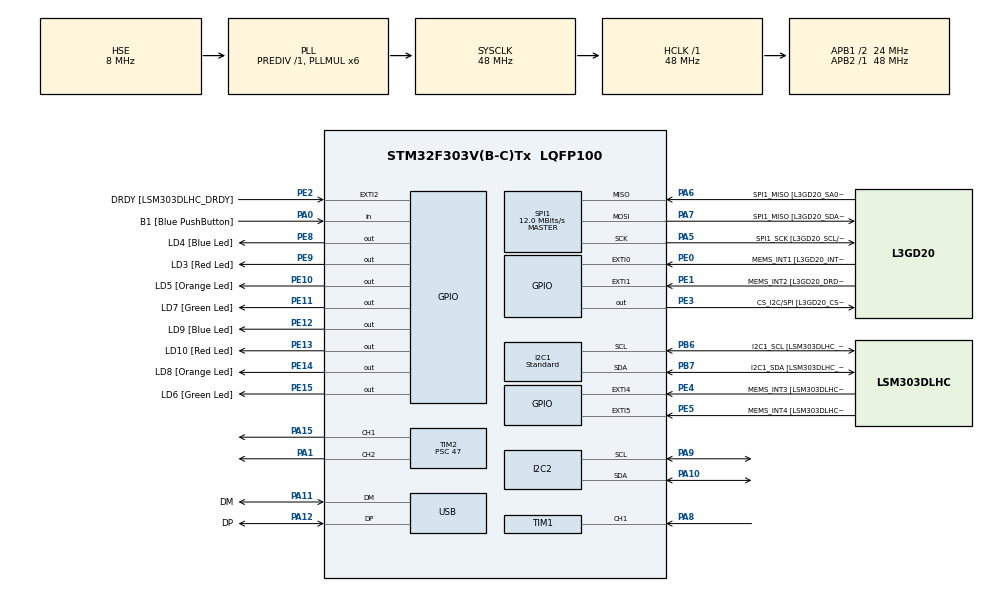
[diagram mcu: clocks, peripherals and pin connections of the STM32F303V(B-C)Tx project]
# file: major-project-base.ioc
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I2C1.Analog_Filter=I2C_ANALOGFILTER_ENABLE
I2C1.I2C_Speed_Mode=I2C_Standard
I2C1.Timing=0x2000090E
Mcu.Family=STM32F3
Mcu.Name=STM32F303V(B-C)Tx
Mcu.Package=LQFP100
NVIC.PriorityGroup=NVIC_PRIORITYGROUP_0
NVIC.TIM1_CC_IRQn=true\:0\:0\:false\:false\:true\:true\:true\:true
NVIC.TIM2_IRQn=true\:0\:0\:false\:false\:true\:true\:true\:true
PA0.GPIO_Label=B1 [Blue PushButton]
PA0.Signal=GPIO_Input
PA1.Signal=S_TIM2_CH2
PA10.GPIO_Pu=GPIO_PULLUP
PA10.Mode=I2C
PA10.Signal=I2C2_SDA
PA11.GPIO_Label=DM
PA11.Mode=Device
PA11.Signal=USB_DM
PA12.GPIO_Label=DP
PA12.Mode=Device
PA12.Signal=USB_DP
PA13.GPIO_Label=SWDIO
PA13.Mode=Serial_Wire
PA13.Signal=SYS_JTMS-SWDIO
PA14.GPIO_Label=SWCLK
PA14.Mode=Serial_Wire
PA14.Signal=SYS_JTCK-SWCLK
PA15.Signal=S_TIM2_CH1_ETR
PA5.GPIO_Label=SPI1_SCK [L3GD20_SCL/SPC]
PA5.Mode=Full_Duplex_Master
PA5.Signal=SPI1_SCK
PA6.GPIO_Label=SPI1_MISO [L3GD20_SA0/SDO]
PA6.Mode=Full_Duplex_Master
PA6.Signal=SPI1_MISO
PA7.GPIO_Label=SPI1_MISO [L3GD20_SDA/SDI/SDO]
PA7.Mode=Full_Duplex_Master
PA7.Signal=SPI1_MOSI
PA8.Signal=S_TIM1_CH1
PA9.GPIO_Pu=GPIO_PULLUP
PA9.Mode=I2C
PA9.Signal=I2C2_SCL
PB3.GPIO_Label=SWO
PB3.Signal=SYS_JTDO-TRACESWO
PB6.GPIO_FM6=SYSCFG_CFGR1_I2C_PB6_FMP
PB6.GPIO_Label=I2C1_SCL [LSM303DLHC_SCL]
PB6.GPIO_Mode=GPIO_MODE_AF_OD
PB6.GPIO_Pu=GPIO_PULLUP
PB6.GPIO_Speed=GPIO_SPEED_FREQ_HIGH
PB6.Mode=I2C
PB6.Signal=I2C1_SCL
PB7.GPIO_FM7=SYSCFG_CFGR1_I2C_PB7_FMP
PB7.GPIO_Label=I2C1_SDA [LSM303DLHC_SDA]
PB7.GPIO_Pu=GPIO_PULLUP
PB7.Mode=I2C
PB7.Signal=I2C1_SDA
PC14-OSC32_IN.GPIO_Label=OSC32_IN
PC14-OSC32_IN.Signal=RCC_OSC32_IN
PC15-OSC32_OUT.GPIO_Label=OSC32_OUT
PC15-OSC32_OUT.Signal=RCC_OSC32_OUT
PE0.GPIO_Label=MEMS_INT1 [L3GD20_INT1]
PE0.GPIO_ModeDefaultEXTI=GPIO_MODE_EVT_RISING
PE0.Signal=GPXTI0
PE1.GPIO_Label=MEMS_INT2 [L3GD20_DRDY/INT2]
PE1.GPIO_ModeDefaultEXTI=GPIO_MODE_EVT_RISING
PE1.Signal=GPXTI1
PE10.GPIO_Label=LD5 [Orange Led]
PE10.Signal=GPIO_Output
PE11.GPIO_Label=LD7 [Green Led]
PE11.Signal=GPIO_Output
PE12.GPIO_Label=LD9 [Blue Led]
PE12.Signal=GPIO_Output
PE13.GPIO_Label=LD10 [Red Led]
PE13.Signal=GPIO_Output
PE14.GPIO_Label=LD8 [Orange Led]
PE14.Signal=GPIO_Output
PE15.GPIO_Label=LD6 [Green Led]
PE15.Signal=GPIO_Output
PE2.GPIO_Label=DRDY [LSM303DLHC_DRDY]
PE2.GPIO_ModeDefaultEXTI=GPIO_MODE_EVT_RISING
PE2.Signal=GPXTI2
PE3.GPIO_Label=CS_I2C/SPI [L3GD20_CS_I2C/SPI]
PE3.Signal=GPIO_Output
PE4.GPIO_Label=MEMS_INT3 [LSM303DLHC_INT1]
PE4.GPIO_ModeDefaultEXTI=GPIO_MODE_EVT_RISING
PE4.Signal=GPXTI4
PE5.GPIO_Label=MEMS_INT4 [LSM303DLHC_INT2]
PE5.GPIO_ModeDefaultEXTI=GPIO_MODE_EVT_RISING
PE5.Signal=GPXTI5
PE8.GPIO_Label=LD4 [Blue Led]
PE8.Signal=GPIO_Output
PE9.GPIO_Label=LD3 [Red Led]
PE9.Signal=GPIO_Output
PF0-OSC_IN.GPIO_Label=OSC_IN
PF0-OSC_IN.Mode=HSE-External-Clock-Source
PF0-OSC_IN.Signal=RCC_OSC_IN
PF1-OSC_OUT.GPIO_Label=OSC_OUT
PF1-OSC_OUT.Signal=RCC_OSC_OUT
ProjectManager.HeapSize=0x200
ProjectManager.StackSize=0x400
ProjectManager.TargetToolchain=STM32CubeIDE
RCC.AHBFreq_Value=48000000
RCC.APB1CLKDivider=RCC_HCLK_DIV2
RCC.APB1Freq_Value=24000000
RCC.APB1TimFreq_Value=48000000
RCC.APB2Freq_Value=48000000
RCC.APB2TimFreq_Value=48000000
RCC.CortexFreq_Value=48000000
RCC.HCLKFreq_Value=48000000
RCC.HSE_VALUE=8000000
RCC.HSI_VALUE=8000000
RCC.LSE_VALUE=32768
RCC.PLLMUL=RCC_PLL_MUL6
RCC.SYSCLKFreq_VALUE=48000000
RCC.SYSCLKSourceVirtual=RCC_SYSCLKSOURCE_PLLCLK
RCC.USBFreq_Value=48000000
SH.S_TIM1_CH1.0=TIM1_CH1,Input_Capture1_from_TI1
SH.S_TIM2_CH1_ETR.0=TIM2_CH1,PWM Generation1 CH1
SH.S_TIM2_CH2.0=TIM2_CH2,PWM Generation2 CH2
SPI1.BaudRatePrescaler=SPI_BAUDRATEPRESCALER_4
SPI1.BaudRatePrescaler-Full_Duplex_Master=SPI_BAUDRATEPRESCALER_2
SPI1.CalculateBaudRate=12.0 MBits/s
SPI1.CalculateBaudRate-Full_Duplex_Master=24.0 MBits/s
SPI1.Direction=SPI_DIRECTION_2LINES
SPI1.Mode=SPI_MODE_MASTER
SPI1.Mode-Full_Duplex_Master=SPI_MODE_MASTER
SPI1.VirtualType=VM_MASTER
TIM1.Channel-Input_Capture1_from_TI1=TIM_CHANNEL_1
TIM1.ICPolarity_CH1=TIM_INPUTCHANNELPOLARITY_BOTHEDGE
TIM1.Prescaler=47
TIM2.AutoReloadPreload=TIM_AUTORELOAD_PRELOAD_ENABLE
TIM2.Channel-PWM\ Generation1\ CH1=TIM_CHANNEL_1
TIM2.Channel-PWM\ Generation2\ CH2=TIM_CHANNEL_2
TIM2.Period=20000
TIM2.Prescaler=47
TIM2.Pulse-PWM\ Generation1\ CH1=2000
TIM2.Pulse-PWM\ Generation2\ CH2=2000
VP_TIM1_VS_ClockSourceINT.Mode=Internal
board=STM32F3DISCOVERY

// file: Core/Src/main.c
/* USER CODE BEGIN Header */
/**
 ******************************************************************************
 * @file           : main.c
 * @brief          : Main program body
 ******************************************************************************
 * @attention
 *
 * Copyright (c) 2023 STMicroelectronics.
 * All rights reserved.
 *
 * This software is licensed under terms that can be found in the LICENSE file
 * in the root directory of this software component.
 * If no LICENSE file comes with this software, it is provided AS-IS.
 *
 ******************************************************************************
 */
/* USER CODE END Header */
#include "main.h"

/* USER CODE BEGIN Includes */
#include "lsm303dlhc_module.h"
#include "ptu_definitions.h"
#include "ptu_i2c.h"
#include "serial.h"

#include "math.h"

#include "timer.h"
#include "lsm6dsl_module.h"

/* USER CODE END Includes */

I2C_HandleTypeDef hi2c1;
I2C_HandleTypeDef hi2c2;

SPI_HandleTypeDef hspi1;

TIM_HandleTypeDef htim1;
TIM_HandleTypeDef htim2;

PCD_HandleTypeDef hpcd_USB_FS;

void SystemClock_Config(void);
static void MX_GPIO_Init(void);
static void MX_I2C1_Init(void);
static void MX_SPI1_Init(void);
static void MX_USB_PCD_Init(void);
static void MX_TIM2_Init(void);
static void MX_TIM1_Init(void);
static void MX_I2C2_Init(void);

/* USER CODE BEGIN 0 */

// enable the clocks for desired peripherals (GPIOA, C and E)
void enable_clocks() {
	RCC->AHBENR |= RCC_AHBENR_GPIOAEN | RCC_AHBENR_GPIOCEN | RCC_AHBENR_GPIOEEN;
}

// initialise the discovery board I/O (just outputs: inputs are selected by default)
void initialise_board() {
	// get a pointer to the second half word of the MODER register (for outputs pe8-15)
	uint16_t *led_output_registers = ((uint16_t *)&(GPIOE->MODER)) + 1;
	*led_output_registers = 0x5555;
}

typedef union {
	uint8_t all_leds;
	struct {
		uint8_t led_pair_1 : 2;
		uint8_t led_pair_2 : 2;
		uint8_t led_set_of_4 : 4;
	} led_groups;
} LedRegister;

uint16_t last_capture = 0;
uint16_t diff = 0;

uint16_t rise_time = 0;
uint16_t last_period = 0;

float x = 0;

void HAL_TIM_IC_CaptureCallback(TIM_HandleTypeDef *htim)
{
	uint8_t buffer[32];
	if (htim->Instance == TIM1 && htim->Channel == HAL_TIM_ACTIVE_CHANNEL_1)
	{
		uint16_t IC_Val1 = HAL_TIM_ReadCapturedValue(htim, TIM_CHANNEL_1); // read the first value

		if (HAL_GPIO_ReadPin(GPIOA, GPIO_PIN_8) == 1)
			rise_time = IC_Val1;
		else
			last_period = IC_Val1 - rise_time;

		diff = IC_Val1 - last_capture;
		last_capture = IC_Val1;
	}
}
volatile uint8_t string_to_send[500] = "This is a string !\r\n";
volatile uint8_t test_string[64] = "h!\r\n";

//static volatile float dx = 0;
//volatile float dt = 0.01;
//static volatile float ds;
//volatile uint16_t dv;

/* USER CODE END 0 */

int main(void)
{
  /* USER CODE BEGIN 1 */

	enable_clocks();
	initialise_board();

	LedRegister *led_register = ((uint8_t*)&(GPIOE->ODR)) + 1;

	SerialInitialise(BAUD_115200, &USART1_PORT, 0x00);

	HAL_StatusTypeDef return_value = 0x00;

	volatile uint16_t vertical_PWM = 1000;
	volatile uint16_t horizontal_PWM = 1000;

  /* USER CODE END 1 */

  /* MCU Configuration--------------------------------------------------------*/

  /* Reset of all peripherals, Initializes the Flash interface and the Systick. */
  HAL_Init();

  /* Configure the system clock */
  SystemClock_Config();

  /* Initialize all configured peripherals */
  MX_GPIO_Init();
  MX_I2C1_Init();
  MX_SPI1_Init();
  MX_USB_PCD_Init();
  MX_TIM2_Init();
  MX_TIM1_Init();
  MX_I2C2_Init();
  /* USER CODE BEGIN 2 */

	HAL_TIM_PWM_Start(&htim2, TIM_CHANNEL_1); // PAN
	HAL_TIM_PWM_Start(&htim2, TIM_CHANNEL_2); // TILT

	HAL_TIM_IC_Start_IT(&htim1, TIM_CHANNEL_1); // LIDAR

	// TIM 2 is setup with a prescaler that makes 1 count = 1 microsecond
	// Even with HAL, you can still set the values yourself
	TIM2->ARR = 20000; // 20000 = 20ms, which is the desired clock period for servos
	TIM2->CR1 |= TIM_CR1_ARPE; // this makes the timing not change until the next pulse is finished

	// note: for PWM if you continually change the clock period
	// you can get unexpected results. To remove this, set ARPE so that the
	// ARR settings are not activated until the next cycle.

	// Tell the NVIC module that timer2 interrupts should be handled
	// NVIC_EnableIRQ(TIM2_IRQn);

	// literallty set the PTU registers using I2C
	// Stews code to initalise HAL_TYPE_STRUCT used for I2C communications
	// he is exrecting a certain stream of infromation and sets it up like so
	initialise_ptu_i2c(&hi2c2);

	lsm303dlhc_initialise(&hi2c1);

  /* USER CODE END 2 */

  /* Infinite loop */
  /* USER CODE BEGIN WHILE */

	// reset lidar board
	uint8_t reset_value = 0x00;
	return_value = HAL_I2C_Mem_Write(&hi2c2, LIDAR_WR, 0x00, 1, &reset_value, 1, 10);

	uint8_t PWM_direction_clockwise = 1;

	// delay for initialisation of the lidar
	HAL_Delay(100);

	uint16_t time = 100; // 4 seconds = 4000ms // 10ms = 10
	//Idea get a interrupt every 10ms
	up_count_TIM3(time, PTU_callback_function);

	float x_acc = 0.0;
	float y_acc = 0.0;
	float z_acc = 0.0;
	float x_v = 0.0;
	float y_v = 0.0;
	float z_v = 0.0;
	float x_angle = 0.0;
	float y_angle = 0.0;
	float z_angle = 0.0;
	float p_rps = 0.0;
	float q_rps = 0.0;
	float r_rps = 0.0;
	float global_roll = 0.0;
	float global_pitch = 0.0;
	float global_yaw = 0.0;
	while (1)
	{
		if (PWM_direction_clockwise == 1) {
			vertical_PWM += 3;
			horizontal_PWM += 3;
		}
		else {
			vertical_PWM -= 3;
			horizontal_PWM -= 3;
		}

		if (vertical_PWM > 1900) {
			vertical_PWM = 1900;
			PWM_direction_clockwise = 0;
		}
		if (vertical_PWM < 1200) {
			vertical_PWM = 1200;
			PWM_direction_clockwise = 1;
		}

		TIM2->CCR1 = vertical_PWM;
		TIM2->CCR2 = horizontal_PWM;

		uint8_t xMSB = 0x00;
		HAL_I2C_Mem_Read(&hi2c2,gyro_rd, 0x29, 1, &xMSB, 1, 10);
		uint8_t xLSB = 0x00;
		HAL_I2C_Mem_Read(&hi2c2,gyro_rd, 0x28, 1, &xLSB, 1, 10);
		int16_t yaw_rate = ((xMSB << 8) | xLSB);

		uint8_t yMSB = 0x00;
		HAL_I2C_Mem_Read(&hi2c2,gyro_rd, 0x2B, 1, &yMSB, 1, 10);
		uint8_t yLSB = 0x00;
		HAL_I2C_Mem_Read(&hi2c2,gyro_rd, 0x2A, 1, &yLSB, 1, 10);
		int16_t pitch_rate = ((yMSB << 8) | yLSB);

		uint8_t zMSB = 0x00;
		HAL_I2C_Mem_Read(&hi2c2,gyro_rd, 0x2D, 1, &zMSB, 1, 10);
		uint8_t zLSB = 0x00;
		HAL_I2C_Mem_Read(&hi2c2,gyro_rd, 0x2C, 1, &zLSB, 1, 10);
		int16_t roll_rate = ((zMSB << 8) | zLSB);

		if (pitch_rate < 0)
			led_register->led_groups.led_pair_1 = 0b01;
		else
			led_register->led_groups.led_pair_1 = 0b10;

		if (yaw_rate < 0)
			led_register->led_groups.led_pair_2 = 1;
		else
			led_register->led_groups.led_pair_2 = 2;

		uint8_t lidar_value = 0x03;
		return_value = HAL_I2C_Mem_Write(&hi2c2, LIDAR_WR, 0x00, 1, &lidar_value, 1, 100);

		lidar_value = 0xff;

		uint8_t lidar_MSBa = 0x00;
		uint8_t lidar_LSBa = 0x00;

		volatile uint16_t lidar_distance = 0xff;

		uint16_t timeout;
// some WERID ERROS happen here
		while ((lidar_value & 0x01) != 0x00) {
			return_value = HAL_I2C_Mem_Read(&hi2c2, LIDAR_RD, 0x01, 1, &lidar_value, 1, 100);

			return_value = HAL_I2C_Mem_Read(&hi2c2, LIDAR_RD, 0x0f, 1, &lidar_MSBa, 1, 100);
			return_value = HAL_I2C_Mem_Read(&hi2c2, LIDAR_RD, 0x10, 1, &lidar_LSBa, 1, 100);

			lidar_distance = ((lidar_MSBa << 8) | lidar_LSBa);
			timeout += 1;
			if (timeout > 0xff)
				break;
		}

		uint8_t lidar_ranges = lidar_distance / (100/4); // 100cm broken into 4 groups
		if (lidar_ranges > 3)
			lidar_ranges = 3;

		uint8_t led_values = pow(2, lidar_ranges);

		led_register->led_groups.led_set_of_4 = led_values;

		volatile int read_values_now = 0;

		if (last_period > 4000)
			last_period = 5000;
		if (lidar_distance > 4000)
			lidar_distance = 5500;
		// Read the magnetometer

		uint8_t mag_setting = 0b11111100;
		return_value = HAL_I2C_Mem_Write(&hi2c2, magnet_wr, 0x02, 1, &mag_setting, 1, 10);

		uint8_t mag_data_buf[6];
		return_value = HAL_I2C_Mem_Read(&hi2c2, magnet_rd, 0x03, 1, mag_data_buf, 6, 10);
		int16_t x_mag = ((mag_data_buf[0] << 8) | mag_data_buf[1]);
		int16_t z_mag = ((mag_data_buf[2] << 8) | mag_data_buf[3]);
		int16_t y_mag = ((mag_data_buf[4] << 8) | mag_data_buf[5]);
		//return_value = HAL_I2C_Mem_Read(&hi2c1, magnet_rd, 0x03, 1, &mag_data_buf[0], 1, 10);
		//return_value = HAL_I2C_Mem_Read(&hi2c1, magnet_rd, 0x04, 1, &mag_data_buf[1], 1, 10);
		//return_value = HAL_I2C_Mem_Read(&hi2c1, magnet_rd, 0x05, 1, &mag_data_buf[2], 1, 10);
		//return_value = HAL_I2C_Mem_Read(&hi2c1, magnet_rd, 0x06, 1, &mag_data_buf[3], 1, 10);
		// = HAL_I2C_Mem_Read(&hi2c1, magnet_rd, 0x07, 1, &mag_data_buf[4], 1, 10);

		// I'm so confused it seems stw things roll is z yaw is x pitch is y??

		// Read acceleration values from ADXL345 registers
		uint8_t buffer[6];
		HAL_I2C_Mem_Read(&hi2c2, accel_rd, 0x32, 1, buffer, 6, 10);
		int16_t x_acceleration = ((buffer[1] << 8) | buffer[0]);
		int16_t y_acceleration = ((buffer[3] << 8) | buffer[2]);
		int16_t z_acceleration = ((buffer[5] << 8) | buffer[4]);

		// I think these calcs are wrong but wait and see
		int32_t x_input = y_acceleration*y_acceleration + z_acceleration*z_acceleration;
		int32_t y_input = x_acceleration*x_acceleration + z_acceleration*z_acceleration;
		int32_t z_input = x_acceleration*x_acceleration + y_acceleration*y_acceleration;
		float ax_roll = (180/3.14)*atan(y_acceleration/sqrt(y_input));
		float ax_pitch = (180/3.14)*atan(x_acceleration/sqrt(x_input));
		float ax_yaw = (180/3.14)*atan(z_acceleration/sqrt(z_input));
		float fYg = (roll_rate+86)*0.00875;

		//float ay_roll = atan(y/sqrt(y_input));
		//x = 0.95*(x + (roll_rate-57)*4/1000) + 0.05*ax_pitch;
		//dv = roll_rate;
		//sprintf(string_to_send, "%hu,%hu,%hd,%hd,%hd,%hd,%hd,%hd,%lf,%lf,%hd,%hd,%hd\r\n", last_period, lidar_distance*10, roll_rate, pitch_rate, yaw_rate, x_acceleration, y_acceleration, z_acceleration, x, ax_pitch, x_mag, z_mag, y_mag);
		//sprintf(string_to_send, "%lf,%lf,%lf,%hd,%hd,%hd\r\n", x_acceleration*0.0039, y_acceleration*0.0039, z_acceleration*0.0039, x_mag, z_mag, y_mag);

		// When gyro facing up
		// Notes on roll pitch and yaw
		// pitch appears to be along the y axis
		// roll_rate is from the z axis
		// yaw_rate is along the x axis

		//float fXg = (roll_rate+86)*0.00875;
		// Do some math to get distance

		float ALPHA = 0.1;
		//float xg;
		//float dpsx = fXg * ALPHA + (xg * (1.0-ALPHA));
		//xg = dpsx;
		//angleX = 0.95*(angleX + dpsx*0.1) + 0.05*ax_roll;

		// impliment a low pass filter on naked results
		//float roll;
		//roll = (roll_rate+86)*ALPHA + roll*(1-ALPHA);

		//sprintf(string_to_send, "%lf,%hd,%lf,%hd,%lf,%lf,%lf\r\n", dpsx, roll_rate, roll, yaw_rate,x_acceleration*0.0039,ax_yaw,angleX);
		// setup_transmission(string_to_send, &USART1_PORT);
		//SerialOutputString(string_to_send, &USART1_PORT);
		//usart1_tx_transmission(string_to_send);
		// usart1_tx_push(string_to_send);

		// Okay lets understand each value being presented and use today as the time to figure them out
		/*
		 * 1. find the offset of acceleration to stablise it
		 * 2. see if can combine acceleration and velocity together to get some values for x y and z
		 * 3.
		 *  */
		// filter out information using low pass filter
		x_acc = ((float)x_acceleration) * 0.00390625 + (1.0-ALPHA)*x_acc;
		y_acc = ((float)y_acceleration) * 0.00390625 + (1.0-ALPHA)*y_acc;
		z_acc = ((float)z_acceleration) * 0.00390625 + (1.0-ALPHA)*z_acc;
		float a_roll = (180/3.14)*atan(y_acc/sqrt(x_acc*x_acc+z_acc*z_acc));
		float a_pitch = (180/3.14)*atan(x_acc/sqrt(y_acc*y_acc+z_acc*z_acc));
		float a_yaw = (180/3.14)*atan(z_acc/sqrt(y_acc*y_acc+x_acc*x_acc));
		//sprintf(string_to_send, "%lf,%lf,%lf,%lf,%lf,%lf\r\n", x_acc, y_acc, z_acc, a_roll, a_pitch, a_yaw);
		//sprintf(string_to_send, "%hd,%hd,%hd\r\n", x_acceleration, y_acceleration, z_acceleration);
		// DO cals on all gryo parts..

		x_v = ((pitch_rate-74)*0.00875* ALPHA + x_v * (1.0-ALPHA));
		y_v = (yaw_rate+86)*0.00875* ALPHA + y_v * (1.0-ALPHA);
		z_v = (roll_rate-100)*0.00875* ALPHA + z_v * (1.0-ALPHA);
		//sprintf(string_to_send, "%hd,%hd,%hd,%lf,%lf,%lf\r\n", roll_rate, pitch_rate, yaw_rate, x_v, y_v, z_v);

		// Now do math to combines readings
		x_angle = 0.95*(x_angle + x_v*0.09) + 0.05*a_roll;
		y_angle = 0.95*(y_angle + y_v*0.09) + 0.05*a_pitch;
		z_angle = 0.95*(z_angle + z_v*0.09) + 0.05*a_yaw;
		float angle = (y_angle + x_angle);
		float y = y_angle - x_angle;
		//sprintf(string_to_send, "%lf,%lf,%lf,%lf,%lf,%lf\r\n", x_v, y_v, z_v, x_angle, y_angle, z_angle);
		//sprintf(string_to_send, "%lf,%lf,%lf\r\n", x_angle, y_angle, z_angle);
		//sprintf(string_to_send, "%lf,%lf\r\n",angle*100, y*100);

		// Investigating magnetic rates
		float mag_angle = atan(y_mag/x_mag);

		//sprintf(string_to_send,"%hd,%hd,%hd,%\r\n",x_mag, z_mag, y_mag);

		// Global roll pitch can't get yaw
		p_rps = ((pitch_rate-74)*0.00875*ALPHA)*(3.14/180) + p_rps * (1.0-ALPHA);
		q_rps = ((yaw_rate+86)*0.00875*ALPHA)*(3.14/180) + q_rps * (1.0-ALPHA);
		r_rps = ((roll_rate-100)*0.00875*ALPHA)*(3.14/180) + r_rps * (1.0-ALPHA);

		// trial of global pitch, roll using accelerometer
		float global_acc_roll = atanf(y_acc/z_acc);
		float global_acc_pitch = atanf(x_acc/9.81);

		float phi_dot = p_rps + tanf(global_acc_pitch)*(sinf(global_acc_roll)*q_rps + cosf(global_acc_roll)*r_rps);
		float theta_dot = cosf(global_acc_roll)*q_rps - sinf(global_acc_roll)*r_rps;

		global_roll = 0.95*(global_roll + 0.1*phi_dot) + 0.05*global_acc_roll;
		global_pitch = 0.95*(global_pitch + 0.1*theta_dot) + 0.05*global_acc_pitch;

		// try this tomorrow!
		// idea to get si
		float si_dot = sinf(global_acc_roll)*q_rps/cosf(global_acc_pitch) + cosf(global_acc_roll)*r_rps/cosf(global_acc_pitch);
		// So to find global yaw
		global_yaw = global_yaw + 0.1*(si_dot);

		//sprintf(string_to_send, "%lf,%lf,\r\n", global_acc_roll, global_acc_pitch);
		//sprintf(string_to_send, "%lf,%lf,%lf,%lf,%lf,%lf\r\n", global_acc_roll, global_acc_pitch, phi_dot, theta_dot, global_roll, global_pitch);
		//sprintf(string_to_send, "%lf,%lf,%lf,%lf,%lf\r\n", global_acc_roll, global_acc_pitch, global_roll, global_pitch, global_yaw);
		// Idea to get XYZ using magnetometer

		// getting the acc and gyro to work
		int16_t accelData[3];
		int16_t magData[3];
		uint8_t acc_data[6];
		//lsm6dsl_read_accel_data(accelData, &hi2c1);
		//lsm6dsl_read_gyro_data(gyroData, &hi2c1);
		lsm303dlhc_read_acc(accelData,&hi2c1);
		//lsm303dlhc_read_mag(magData,&hi2c1);

		//HAL_I2C_Mem_Read(&hi2c1, LSM303DLHC_I2C_ADDRESS, 0x28, 1, acc_data, 6, HAL_MAX_DELAY);
		//HAL_I2C_Master_Receive(&hi2c1, LSM303DLHC_I2C_ADDRESS, accelData, 6, 1000);
		accelData[0] = (int16_t)(acc_data[0] | (acc_data[1] << 8));
		accelData[1] = (int16_t)(acc_data[2] | (acc_data[3] << 8));
		accelData[2] = (int16_t)(acc_data[4] | (acc_data[5] << 8));
		sprintf(string_to_send, "%hd,%hd,%hd\r\n", accelData[0], accelData[1],accelData[2]);

    /* USER CODE END WHILE */

    /* USER CODE BEGIN 3 */
	}
	// code the IQR handler here

  /* USER CODE END 3 */
}

void SystemClock_Config(void)
{
  RCC_OscInitTypeDef RCC_OscInitStruct = {0};
  RCC_ClkInitTypeDef RCC_ClkInitStruct = {0};
  RCC_PeriphCLKInitTypeDef PeriphClkInit = {0};

  /** Initializes the RCC Oscillators according to the specified parameters
  * in the RCC_OscInitTypeDef structure.
  */
  RCC_OscInitStruct.OscillatorType = RCC_OSCILLATORTYPE_HSI|RCC_OSCILLATORTYPE_HSE;
  RCC_OscInitStruct.HSEState = RCC_HSE_BYPASS;
  RCC_OscInitStruct.HSEPredivValue = RCC_HSE_PREDIV_DIV1;
  RCC_OscInitStruct.HSIState = RCC_HSI_ON;
  RCC_OscInitStruct.HSICalibrationValue = RCC_HSICALIBRATION_DEFAULT;
  RCC_OscInitStruct.PLL.PLLState = RCC_PLL_ON;
  RCC_OscInitStruct.PLL.PLLSource = RCC_PLLSOURCE_HSE;
  RCC_OscInitStruct.PLL.PLLMUL = RCC_PLL_MUL6;
  if (HAL_RCC_OscConfig(&RCC_OscInitStruct) != HAL_OK)
  {
    Error_Handler();
  }

  /** Initializes the CPU, AHB and APB buses clocks
  */
  RCC_ClkInitStruct.ClockType = RCC_CLOCKTYPE_HCLK|RCC_CLOCKTYPE_SYSCLK
                              |RCC_CLOCKTYPE_PCLK1|RCC_CLOCKTYPE_PCLK2;
  RCC_ClkInitStruct.SYSCLKSource = RCC_SYSCLKSOURCE_PLLCLK;
  RCC_ClkInitStruct.AHBCLKDivider = RCC_SYSCLK_DIV1;
  RCC_ClkInitStruct.APB1CLKDivider = RCC_HCLK_DIV2;
  RCC_ClkInitStruct.APB2CLKDivider = RCC_HCLK_DIV1;

  if (HAL_RCC_ClockConfig(&RCC_ClkInitStruct, FLASH_LATENCY_1) != HAL_OK)
  {
    Error_Handler();
  }
  PeriphClkInit.PeriphClockSelection = RCC_PERIPHCLK_USB|RCC_PERIPHCLK_I2C1
                              |RCC_PERIPHCLK_I2C2|RCC_PERIPHCLK_TIM1;
  PeriphClkInit.I2c1ClockSelection = RCC_I2C1CLKSOURCE_HSI;
  PeriphClkInit.I2c2ClockSelection = RCC_I2C2CLKSOURCE_HSI;
  PeriphClkInit.USBClockSelection = RCC_USBCLKSOURCE_PLL;
  PeriphClkInit.Tim1ClockSelection = RCC_TIM1CLK_HCLK;
  if (HAL_RCCEx_PeriphCLKConfig(&PeriphClkInit) != HAL_OK)
  {
    Error_Handler();
  }
}

static void MX_I2C1_Init(void)
{

  hi2c1.Instance = I2C1;
  hi2c1.Init.Timing = 0x2000090E;
  hi2c1.Init.OwnAddress1 = 0;
  hi2c1.Init.AddressingMode = I2C_ADDRESSINGMODE_7BIT;
  hi2c1.Init.DualAddressMode = I2C_DUALADDRESS_DISABLE;
  hi2c1.Init.OwnAddress2 = 0;
  hi2c1.Init.OwnAddress2Masks = I2C_OA2_NOMASK;
  hi2c1.Init.GeneralCallMode = I2C_GENERALCALL_DISABLE;
  hi2c1.Init.NoStretchMode = I2C_NOSTRETCH_DISABLE;
  if (HAL_I2C_Init(&hi2c1) != HAL_OK)
  {
    Error_Handler();
  }

  /** Configure Analogue filter
  */
  if (HAL_I2CEx_ConfigAnalogFilter(&hi2c1, I2C_ANALOGFILTER_ENABLE) != HAL_OK)
  {
    Error_Handler();
  }

  /** Configure Digital filter
  */
  if (HAL_I2CEx_ConfigDigitalFilter(&hi2c1, 0) != HAL_OK)
  {
    Error_Handler();
  }

}

static void MX_I2C2_Init(void)
{

  hi2c2.Instance = I2C2;
  hi2c2.Init.Timing = 0x2000090E;
  hi2c2.Init.OwnAddress1 = 0;
  hi2c2.Init.AddressingMode = I2C_ADDRESSINGMODE_7BIT;
  hi2c2.Init.DualAddressMode = I2C_DUALADDRESS_DISABLE;
  hi2c2.Init.OwnAddress2 = 0;
  hi2c2.Init.OwnAddress2Masks = I2C_OA2_NOMASK;
  hi2c2.Init.GeneralCallMode = I2C_GENERALCALL_DISABLE;
  hi2c2.Init.NoStretchMode = I2C_NOSTRETCH_DISABLE;
  if (HAL_I2C_Init(&hi2c2) != HAL_OK)
  {
    Error_Handler();
  }

  /** Configure Analogue filter
  */
  if (HAL_I2CEx_ConfigAnalogFilter(&hi2c2, I2C_ANALOGFILTER_ENABLE) != HAL_OK)
  {
    Error_Handler();
  }

  /** Configure Digital filter
  */
  if (HAL_I2CEx_ConfigDigitalFilter(&hi2c2, 0) != HAL_OK)
  {
    Error_Handler();
  }

}

static void MX_SPI1_Init(void)
{

  /* SPI1 parameter configuration*/
  hspi1.Instance = SPI1;
  hspi1.Init.Mode = SPI_MODE_MASTER;
  hspi1.Init.Direction = SPI_DIRECTION_2LINES;
  hspi1.Init.DataSize = SPI_DATASIZE_4BIT;
  hspi1.Init.CLKPolarity = SPI_POLARITY_LOW;
  hspi1.Init.CLKPhase = SPI_PHASE_1EDGE;
  hspi1.Init.NSS = SPI_NSS_SOFT;
  hspi1.Init.BaudRatePrescaler = SPI_BAUDRATEPRESCALER_4;
  hspi1.Init.FirstBit = SPI_FIRSTBIT_MSB;
  hspi1.Init.TIMode = SPI_TIMODE_DISABLE;
  hspi1.Init.CRCCalculation = SPI_CRCCALCULATION_DISABLE;
  hspi1.Init.CRCPolynomial = 7;
  hspi1.Init.CRCLength = SPI_CRC_LENGTH_DATASIZE;
  hspi1.Init.NSSPMode = SPI_NSS_PULSE_ENABLE;
  if (HAL_SPI_Init(&hspi1) != HAL_OK)
  {
    Error_Handler();
  }

}

static void MX_TIM1_Init(void)
{

  TIM_ClockConfigTypeDef sClockSourceConfig = {0};
  TIM_MasterConfigTypeDef sMasterConfig = {0};
  TIM_IC_InitTypeDef sConfigIC = {0};

  htim1.Instance = TIM1;
  htim1.Init.Prescaler = 47;
  htim1.Init.CounterMode = TIM_COUNTERMODE_UP;
  htim1.Init.Period = 65535;
  htim1.Init.ClockDivision = TIM_CLOCKDIVISION_DIV1;
  htim1.Init.RepetitionCounter = 0;
  htim1.Init.AutoReloadPreload = TIM_AUTORELOAD_PRELOAD_DISABLE;
  if (HAL_TIM_Base_Init(&htim1) != HAL_OK)
  {
    Error_Handler();
  }
  sClockSourceConfig.ClockSource = TIM_CLOCKSOURCE_INTERNAL;
  if (HAL_TIM_ConfigClockSource(&htim1, &sClockSourceConfig) != HAL_OK)
  {
    Error_Handler();
  }
  if (HAL_TIM_IC_Init(&htim1) != HAL_OK)
  {
    Error_Handler();
  }
  sMasterConfig.MasterOutputTrigger = TIM_TRGO_RESET;
  sMasterConfig.MasterOutputTrigger2 = TIM_TRGO2_RESET;
  sMasterConfig.MasterSlaveMode = TIM_MASTERSLAVEMODE_DISABLE;
  if (HAL_TIMEx_MasterConfigSynchronization(&htim1, &sMasterConfig) != HAL_OK)
  {
    Error_Handler();
  }
  sConfigIC.ICPolarity = TIM_INPUTCHANNELPOLARITY_BOTHEDGE;
  sConfigIC.ICSelection = TIM_ICSELECTION_DIRECTTI;
  sConfigIC.ICPrescaler = TIM_ICPSC_DIV1;
  sConfigIC.ICFilter = 0;
  if (HAL_TIM_IC_ConfigChannel(&htim1, &sConfigIC, TIM_CHANNEL_1) != HAL_OK)
  {
    Error_Handler();
  }

}

static void MX_TIM2_Init(void)
{

  TIM_MasterConfigTypeDef sMasterConfig = {0};
  TIM_OC_InitTypeDef sConfigOC = {0};

  htim2.Instance = TIM2;
  htim2.Init.Prescaler = 47;
  htim2.Init.CounterMode = TIM_COUNTERMODE_UP;
  htim2.Init.Period = 20000;
  htim2.Init.ClockDivision = TIM_CLOCKDIVISION_DIV1;
  htim2.Init.AutoReloadPreload = TIM_AUTORELOAD_PRELOAD_ENABLE;
  if (HAL_TIM_PWM_Init(&htim2) != HAL_OK)
  {
    Error_Handler();
  }
  sMasterConfig.MasterOutputTrigger = TIM_TRGO_RESET;
  sMasterConfig.MasterSlaveMode = TIM_MASTERSLAVEMODE_DISABLE;
  if (HAL_TIMEx_MasterConfigSynchronization(&htim2, &sMasterConfig) != HAL_OK)
  {
    Error_Handler();
  }
  sConfigOC.OCMode = TIM_OCMODE_PWM1;
  sConfigOC.Pulse = 2000;
  sConfigOC.OCPolarity = TIM_OCPOLARITY_HIGH;
  sConfigOC.OCFastMode = TIM_OCFAST_DISABLE;
  if (HAL_TIM_PWM_ConfigChannel(&htim2, &sConfigOC, TIM_CHANNEL_1) != HAL_OK)
  {
    Error_Handler();
  }
  if (HAL_TIM_PWM_ConfigChannel(&htim2, &sConfigOC, TIM_CHANNEL_2) != HAL_OK)
  {
    Error_Handler();
  }
  HAL_TIM_MspPostInit(&htim2);

}

static void MX_USB_PCD_Init(void)
{

  hpcd_USB_FS.Instance = USB;
  hpcd_USB_FS.Init.dev_endpoints = 8;
  hpcd_USB_FS.Init.speed = PCD_SPEED_FULL;
  hpcd_USB_FS.Init.phy_itface = PCD_PHY_EMBEDDED;
  hpcd_USB_FS.Init.low_power_enable = DISABLE;
  hpcd_USB_FS.Init.battery_charging_enable = DISABLE;
  if (HAL_PCD_Init(&hpcd_USB_FS) != HAL_OK)
  {
    Error_Handler();
  }

}

static void MX_GPIO_Init(void)
{
  GPIO_InitTypeDef GPIO_InitStruct = {0};

  /* GPIO Ports Clock Enable */
  __HAL_RCC_GPIOE_CLK_ENABLE();
  __HAL_RCC_GPIOC_CLK_ENABLE();
  __HAL_RCC_GPIOF_CLK_ENABLE();
  __HAL_RCC_GPIOA_CLK_ENABLE();
  __HAL_RCC_GPIOB_CLK_ENABLE();

  /*Configure GPIO pin Output Level */
  HAL_GPIO_WritePin(GPIOE, CS_I2C_SPI_Pin|LD4_Pin|LD3_Pin|LD5_Pin
                          |LD7_Pin|LD9_Pin|LD10_Pin|LD8_Pin
                          |LD6_Pin, GPIO_PIN_RESET);

  /*Configure GPIO pins : DRDY_Pin MEMS_INT3_Pin MEMS_INT4_Pin MEMS_INT1_Pin
                           MEMS_INT2_Pin */
  GPIO_InitStruct.Pin = DRDY_Pin|MEMS_INT3_Pin|MEMS_INT4_Pin|MEMS_INT1_Pin
                          |MEMS_INT2_Pin;
  GPIO_InitStruct.Mode = GPIO_MODE_EVT_RISING;
  GPIO_InitStruct.Pull = GPIO_NOPULL;
  HAL_GPIO_Init(GPIOE, &GPIO_InitStruct);

  /*Configure GPIO pins : CS_I2C_SPI_Pin LD4_Pin LD3_Pin LD5_Pin
                           LD7_Pin LD9_Pin LD10_Pin LD8_Pin
                           LD6_Pin */
  GPIO_InitStruct.Pin = CS_I2C_SPI_Pin|LD4_Pin|LD3_Pin|LD5_Pin
                          |LD7_Pin|LD9_Pin|LD10_Pin|LD8_Pin
                          |LD6_Pin;
  GPIO_InitStruct.Mode = GPIO_MODE_OUTPUT_PP;
  GPIO_InitStruct.Pull = GPIO_NOPULL;
  GPIO_InitStruct.Speed = GPIO_SPEED_FREQ_LOW;
  HAL_GPIO_Init(GPIOE, &GPIO_InitStruct);

  /*Configure GPIO pin : B1_Pin */
  GPIO_InitStruct.Pin = B1_Pin;
  GPIO_InitStruct.Mode = GPIO_MODE_INPUT;
  GPIO_InitStruct.Pull = GPIO_NOPULL;
  HAL_GPIO_Init(B1_GPIO_Port, &GPIO_InitStruct);

}

/* USER CODE BEGIN 4 */
void PTU_callback_function(){
	static uint8_t count = 0;
	if(count == 0){
		//setup_transmission(string_to_send, &USART1_PORT);
		count++;
		return;
	}

	//dx = dx + (dv-57)*0.00875*dt;
	//volatile uint16_t dv;
	//sprintf(test_string, "%lf,\r\n");

//
//	if(count == 1){
//		SerialOutputString(string_to_send, &USART1_PORT);
//		count++;
//		return;
//	}

//	LedRegister *led_register = ((uint8_t*)&(GPIOE->ODR)) + 1;
//	led_register->led_groups.led_pair_1 ^= 0b10;
	setup_transmission(string_to_send, &USART1_PORT);
	//setup_transmission(test_string, &USART1_PORT);
	// static uint8_t counter = 1;
	// string_to_send[0] = counter++;
	//SerialOutputString(string_to_send, &USART1_PORT);

	// usart1_tx_push(string_to_send);
	// when called enable interrupts
	//enable_USART_interrupts(&USART1_PORT);
	// uint8_t *test = "new wtf hty\r\n";

}
/* USER CODE END 4 */

void Error_Handler(void)
{
	__disable_irq();
	while (1)
	{
	}
}
